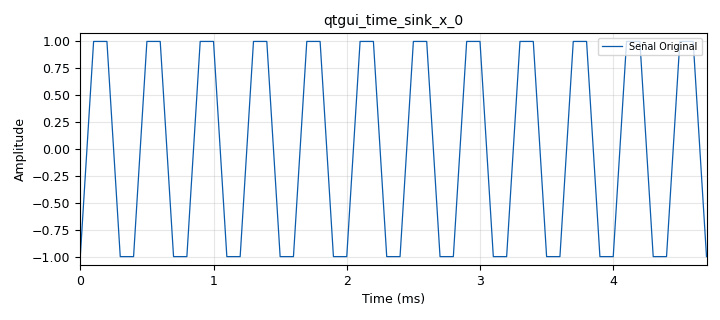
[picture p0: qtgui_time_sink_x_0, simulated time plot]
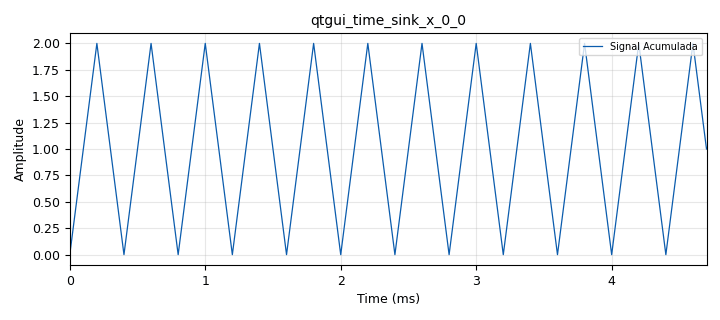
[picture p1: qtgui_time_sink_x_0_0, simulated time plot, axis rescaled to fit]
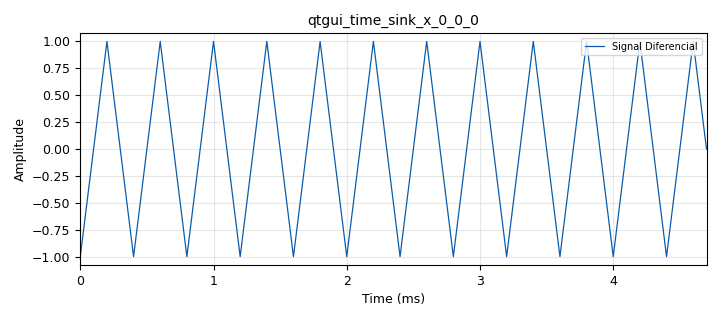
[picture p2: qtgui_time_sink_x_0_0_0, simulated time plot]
options:
  parameters:
    author: Dana y Carlos
    generate_options: qt_gui
    id: untitled
    output_language: python
    title: Practica_1
  states: {}

blocks:
- name: samp_rate
  id: variable
  parameters:
    value: '10000'
  states: {}
- name: blocks_vector_source_x_0
  id: blocks_vector_source_x
  parameters:
    repeat: 'True'
    type: float
    vector: (-1,1,1,-1)
  states: {}
- name: epy_block_0
  id: epy_block
  parameters:
    _source_code: |
      import numpy as np
      from gnuradio import gr

      class blk (gr.sync_block ):
          def __init__( self ) : # only default arguments here
              gr.sync_block.__init__(
                  self ,
                  name ="e_Acum ", # will show up in GRC
                  in_sig =[np.float32],
                  out_sig =[np.float32]
              )

          def work (self,input_items,output_items):
              x = input_items [0] # Senial de entrada .
              y0 = output_items [0] # Senial acumulada
              y0 [:] = np.cumsum(x)
          
              return len (y0)
    alias: Acumulador
  states: {}
- name: epy_block_0_0
  id: epy_block
  parameters:
    _source_code: |
      import numpy as np
      from gnuradio import gr

      class blk (gr.sync_block):
          def __init__( self ) : # only default arguments here
              gr.sync_block.__init__(
                  self,
                  name = "e_Dif", # will show up in GRC
                  in_sig =[np.float32],
                  out_sig =[np.float32]
              )    
              self.acum_anterior = 0
          

          def work (self,input_items,output_items):
              x = input_items [0] # Senial de entrada .
              y0 = output_items [0] # Senial acumulada
              N = len(x)
              diff = np.cumsum(x) - self.acum_anterior
              self.acum_anterior = diff[N-1]
              y0 [:] = diff
              return len (y0)
    alias: Diferenciador
  states: {}
- name: qtgui_time_sink_x_0
  id: qtgui_time_sink_x
  parameters:
    alias: Señal Original
    label1: Señal Original
    size: '48'
    srate: samp_rate
    type: float
  states: {}
- name: qtgui_time_sink_x_0_0
  id: qtgui_time_sink_x
  parameters:
    label1: Signal Acumulada
    size: '48'
    srate: samp_rate
    type: float
  states: {}
- name: qtgui_time_sink_x_0_0_0
  id: qtgui_time_sink_x
  parameters:
    label1: Signal Diferencial
    size: '48'
    srate: samp_rate
    type: float
  states: {}

connections:
- [blocks_vector_source_x_0, '0', epy_block_0, '0']
- [blocks_vector_source_x_0, '0', epy_block_0_0, '0']
- [blocks_vector_source_x_0, '0', qtgui_time_sink_x_0, '0']
- [epy_block_0, '0', qtgui_time_sink_x_0_0, '0']
- [epy_block_0_0, '0', qtgui_time_sink_x_0_0_0, '0']

metadata:
  file_format: 1
  grc_version: v3.10.11.0-89-ga17f69e7
